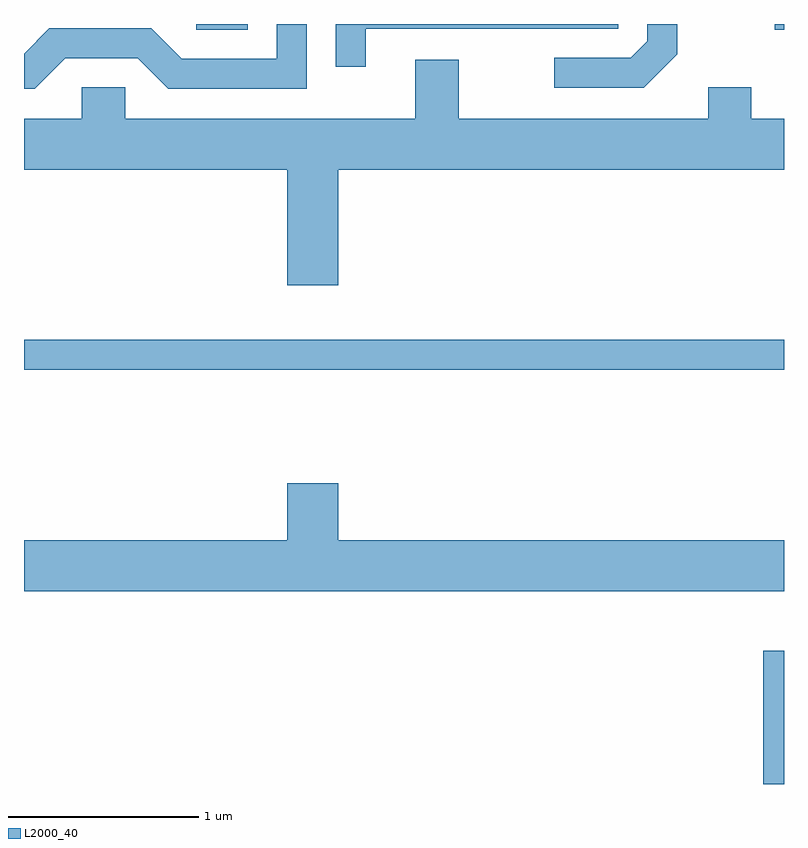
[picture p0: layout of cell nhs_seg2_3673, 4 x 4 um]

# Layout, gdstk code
import gdstk
lib = gdstk.Library(unit=1e-6, precision=1e-09)
def R(c, l, rs):  # rectangles x0, y0, x1, y1
    for r in rs: c.add(gdstk.rectangle(r[:2], r[2:], *l))
def P(c, l, *ps):  # polygons
    for p in ps: c.add(gdstk.Polygon(p, *l))
L2000_40 = (2000, 40)

nhs_seg2_3673 = lib.new_cell('nhs_seg2_3673')
R(nhs_seg2_3673, L2000_40, [(297.501,991.802,297.611,992.504), (293.611,993.981,297.611,994.139), (294.518,995.771,294.789,995.802), (297.563,995.771,297.611,995.802)])
P(nhs_seg2_3673, L2000_40, [(293.827,995.621),(294.209,995.621),(294.369,995.461),(295.099,995.461),(295.099,995.802),(294.941,995.802),(294.941,995.619),(294.442,995.619),(294.282,995.779),(293.744,995.779),(293.611,995.646),(293.611,995.461),(293.667,995.461)],
  [(297.049,995.644),(297.049,995.802),(296.891,995.802),(296.891,995.712),(296.804,995.624),(296.403,995.624),(296.403,995.466),(296.872,995.466)],
  [(295.409,995.776),(296.739,995.776),(296.739,995.802),(295.251,995.802),(295.251,995.578),(295.409,995.578)],
  [(295.264,995.036),(297.611,995.036),(297.611,995.304),(297.439,995.304),(297.439,995.469),(297.211,995.469),(297.211,995.304),(295.899,995.304),(295.899,995.614),(295.671,995.614),(295.671,995.304),(294.144,995.304),(294.144,995.469),(293.916,995.469),(293.916,995.304),(293.611,995.304),(293.611,995.036),(294.996,995.036),(294.996,994.426),(295.264,994.426)],
  [(297.611,993.084),(295.264,993.084),(295.264,993.384),(294.996,993.384),(294.996,993.084),(293.611,993.084),(293.611,992.816),(297.611,992.816)])

lib.write_gds('nhs_seg2_3673.gds')
